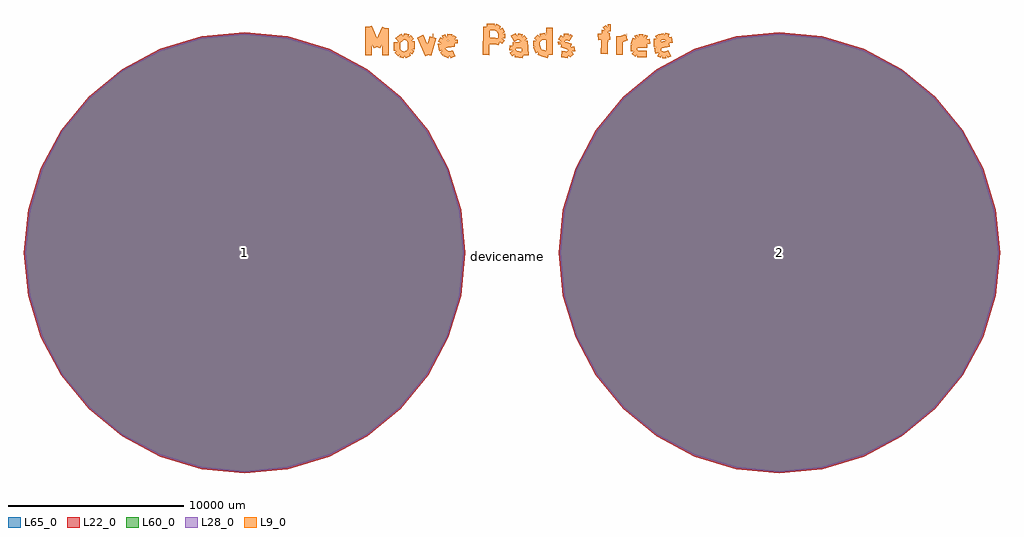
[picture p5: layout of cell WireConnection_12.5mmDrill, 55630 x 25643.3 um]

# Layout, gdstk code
import gdstk
lib = gdstk.Library(unit=1e-6, precision=1e-09)
def P(c, l, *ps):  # polygons
    for p in ps: c.add(gdstk.Polygon(p, *l))
L9_0 = (9, 0)
L22_0 = (22, 0)
L28_0 = (28, 0)
L60_0 = (60, 0)
L65_0 = (65, 0)

wireconnection_12_5mmdri = lib.new_cell('WireConnection_12.5mmDrill')
P(wireconnection_12_5mmdri, L22_0, [(43055,0),(42813.375,2453.261),(42097.785,4812.244),(40935.73,6986.296),(39371.868,8891.868),(37466.296,10455.73),(35292.244,11617.785),(32933.261,12333.375),(30480,12575),(28026.739,12333.375),(25667.756,11617.785),(23493.704,10455.73),(21588.132,8891.868),(20024.27,6986.296),(18862.215,4812.244),(18146.625,2453.261),(17905,0),(18146.625,-2453.261),(18862.215,-4812.244),(20024.27,-6986.296),(21588.132,-8891.868),(23493.704,-10455.73),(25667.756,-11617.785),(28026.739,-12333.375),(30480,-12575),(32933.261,-12333.375),(35292.244,-11617.785),(37466.296,-10455.73),(39371.868,-8891.868),(40935.73,-6986.296),(42097.785,-4812.244),(42813.375,-2453.261)],
  [(12575,0),(12333.375,2453.261),(11617.785,4812.244),(10455.73,6986.296),(8891.868,8891.868),(6986.296,10455.73),(4812.244,11617.785),(2453.261,12333.375),(0,12575),(-2453.261,12333.375),(-4812.244,11617.785),(-6986.296,10455.73),(-8891.868,8891.868),(-10455.73,6986.296),(-11617.785,4812.244),(-12333.375,2453.261),(-12575,0),(-12333.375,-2453.261),(-11617.785,-4812.244),(-10455.73,-6986.296),(-8891.868,-8891.868),(-6986.296,-10455.73),(-4812.244,-11617.785),(-2453.261,-12333.375),(0,-12575),(2453.261,-12333.375),(4812.244,-11617.785),(6986.296,-10455.73),(8891.868,-8891.868),(10455.73,-6986.296),(11617.785,-4812.244),(12333.375,-2453.261)])
P(wireconnection_12_5mmdri, L28_0, [(42980,0),(42739.816,2438.629),(42028.494,4783.543),(40873.37,6944.628),(39318.835,8838.835),(37424.628,10393.37),(35263.543,11548.494),(32918.629,12259.816),(30480,12500),(28041.371,12259.816),(25696.457,11548.494),(23535.372,10393.37),(21641.165,8838.835),(20086.63,6944.628),(18931.506,4783.543),(18220.184,2438.629),(17980,0),(18220.184,-2438.629),(18931.506,-4783.543),(20086.63,-6944.628),(21641.165,-8838.835),(23535.372,-10393.37),(25696.457,-11548.494),(28041.371,-12259.816),(30480,-12500),(32918.629,-12259.816),(35263.543,-11548.494),(37424.628,-10393.37),(39318.835,-8838.835),(40873.37,-6944.628),(42028.494,-4783.543),(42739.816,-2438.629)],
  [(12500,0),(12259.816,2438.629),(11548.494,4783.543),(10393.37,6944.628),(8838.835,8838.835),(6944.628,10393.37),(4783.543,11548.494),(2438.629,12259.816),(0,12500),(-2438.629,12259.816),(-4783.543,11548.494),(-6944.628,10393.37),(-8838.835,8838.835),(-10393.37,6944.628),(-11548.494,4783.543),(-12259.816,2438.629),(-12500,0),(-12259.816,-2438.629),(-11548.494,-4783.543),(-10393.37,-6944.628),(-8838.835,-8838.835),(-6944.628,-10393.37),(-4783.543,-11548.494),(-2438.629,-12259.816),(0,-12500),(2438.629,-12259.816),(4783.543,-11548.494),(6944.628,-10393.37),(8838.835,-8838.835),(10393.37,-6944.628),(11548.494,-4783.543),(12259.816,-2438.629)])
P(wireconnection_12_5mmdri, L60_0, [(42980,0),(42739.816,2438.629),(42028.494,4783.543),(40873.37,6944.628),(39318.835,8838.835),(37424.628,10393.37),(35263.543,11548.494),(32918.629,12259.816),(30480,12500),(28041.371,12259.816),(25696.457,11548.494),(23535.372,10393.37),(21641.165,8838.835),(20086.63,6944.628),(18931.506,4783.543),(18220.184,2438.629),(17980,0),(18220.184,-2438.629),(18931.506,-4783.543),(20086.63,-6944.628),(21641.165,-8838.835),(23535.372,-10393.37),(25696.457,-11548.494),(28041.371,-12259.816),(30480,-12500),(32918.629,-12259.816),(35263.543,-11548.494),(37424.628,-10393.37),(39318.835,-8838.835),(40873.37,-6944.628),(42028.494,-4783.543),(42739.816,-2438.629)],
  [(12500,0),(12259.816,2438.629),(11548.494,4783.543),(10393.37,6944.628),(8838.835,8838.835),(6944.628,10393.37),(4783.543,11548.494),(2438.629,12259.816),(0,12500),(-2438.629,12259.816),(-4783.543,11548.494),(-6944.628,10393.37),(-8838.835,8838.835),(-10393.37,6944.628),(-11548.494,4783.543),(-12259.816,2438.629),(-12500,0),(-12259.816,-2438.629),(-11548.494,-4783.543),(-10393.37,-6944.628),(-8838.835,-8838.835),(-6944.628,-10393.37),(-4783.543,-11548.494),(-2438.629,-12259.816),(0,-12500),(2438.629,-12259.816),(4783.543,-11548.494),(6944.628,-10393.37),(8838.835,-8838.835),(10393.37,-6944.628),(11548.494,-4783.543),(12259.816,-2438.629)])
P(wireconnection_12_5mmdri, L65_0, [(43055,0),(42813.375,2453.261),(42097.785,4812.244),(40935.73,6986.296),(39371.868,8891.868),(37466.296,10455.73),(35292.244,11617.785),(32933.261,12333.375),(30480,12575),(28026.739,12333.375),(25667.756,11617.785),(23493.704,10455.73),(21588.132,8891.868),(20024.27,6986.296),(18862.215,4812.244),(18146.625,2453.261),(17905,0),(18146.625,-2453.261),(18862.215,-4812.244),(20024.27,-6986.296),(21588.132,-8891.868),(23493.704,-10455.73),(25667.756,-11617.785),(28026.739,-12333.375),(30480,-12575),(32933.261,-12333.375),(35292.244,-11617.785),(37466.296,-10455.73),(39371.868,-8891.868),(40935.73,-6986.296),(42097.785,-4812.244),(42813.375,-2453.261)],
  [(12575,0),(12333.375,2453.261),(11617.785,4812.244),(10455.73,6986.296),(8891.868,8891.868),(6986.296,10455.73),(4812.244,11617.785),(2453.261,12333.375),(0,12575),(-2453.261,12333.375),(-4812.244,11617.785),(-6986.296,10455.73),(-8891.868,8891.868),(-10455.73,6986.296),(-11617.785,4812.244),(-12333.375,2453.261),(-12575,0),(-12333.375,-2453.261),(-11617.785,-4812.244),(-10455.73,-6986.296),(-8891.868,-8891.868),(-6986.296,-10455.73),(-4812.244,-11617.785),(-2453.261,-12333.375),(0,-12575),(2453.261,-12333.375),(4812.244,-11617.785),(6986.296,-10455.73),(8891.868,-8891.868),(10455.73,-6986.296),(11617.785,-4812.244),(12333.375,-2453.261)])
wireconnection_12_5mmdri.add(gdstk.FlexPath([(8026.4,12801.6),(8026.4,11252.2)], 380.998, ends="flush", simple_path=True, layer=9, datatype=0))  # L9_0
wireconnection_12_5mmdri.add(gdstk.FlexPath([(7543.8,11734.8),(8026.4,12801.6)], 380.998, ends="flush", simple_path=True, layer=9, datatype=0))  # L9_0
wireconnection_12_5mmdri.add(gdstk.FlexPath([(7061.2,12877.8),(7543.8,11734.8)], 380.998, ends="flush", simple_path=True, layer=9, datatype=0))  # L9_0
wireconnection_12_5mmdri.add(gdstk.FlexPath([(7061.2,11252.2),(7061.2,12877.8)], 380.998, ends="flush", simple_path=True, layer=9, datatype=0))  # L9_0
wireconnection_12_5mmdri.add(gdstk.FlexPath([(9042.4,12344.4),(8712.2,12090.4)], 380.998, ends="flush", simple_path=True, layer=9, datatype=0))  # L9_0
wireconnection_12_5mmdri.add(gdstk.FlexPath([(9321.8,12268.2),(9042.4,12344.4)], 380.998, ends="flush", simple_path=True, layer=9, datatype=0))  # L9_0
wireconnection_12_5mmdri.add(gdstk.FlexPath([(9499.6,12065),(9321.8,12268.2)], 380.998, ends="flush", simple_path=True, layer=9, datatype=0))  # L9_0
wireconnection_12_5mmdri.add(gdstk.FlexPath([(9499.6,11607.8),(9499.6,12065)], 380.998, ends="flush", simple_path=True, layer=9, datatype=0))  # L9_0
wireconnection_12_5mmdri.add(gdstk.FlexPath([(9398,11404.6),(9499.6,11607.8)], 380.998, ends="flush", simple_path=True, layer=9, datatype=0))  # L9_0
wireconnection_12_5mmdri.add(gdstk.FlexPath([(9118.6,11277.6),(9398,11404.6)], 380.998, ends="flush", simple_path=True, layer=9, datatype=0))  # L9_0
wireconnection_12_5mmdri.add(gdstk.FlexPath([(8890,11328.4),(9118.6,11277.6)], 380.998, ends="flush", simple_path=True, layer=9, datatype=0))  # L9_0
wireconnection_12_5mmdri.add(gdstk.FlexPath([(8686.8,11531.6),(8890,11328.4)], 380.998, ends="flush", simple_path=True, layer=9, datatype=0))  # L9_0
wireconnection_12_5mmdri.add(gdstk.FlexPath([(8686.8,12014.2),(8686.8,11531.6)], 380.998, ends="flush", simple_path=True, layer=9, datatype=0))  # L9_0
wireconnection_12_5mmdri.add(gdstk.FlexPath([(10744.2,12293.6),(10718.8,12293.6)], 380.998, ends="flush", simple_path=True, layer=9, datatype=0))  # L9_0
wireconnection_12_5mmdri.add(gdstk.FlexPath([(10464.8,11277.6),(10744.2,12293.6)], 380.998, ends="flush", simple_path=True, layer=9, datatype=0))  # L9_0
wireconnection_12_5mmdri.add(gdstk.FlexPath([(10007.6,12344.4),(10464.8,11277.6)], 380.998, ends="flush", simple_path=True, layer=9, datatype=0))  # L9_0
wireconnection_12_5mmdri.add(gdstk.FlexPath([(11963.4,11938),(11328.4,11861.8)], 380.998, ends="flush", simple_path=True, layer=9, datatype=0))  # L9_0
wireconnection_12_5mmdri.add(gdstk.FlexPath([(11963.4,12141.2),(11963.4,11938)], 380.998, ends="flush", simple_path=True, layer=9, datatype=0))  # L9_0
wireconnection_12_5mmdri.add(gdstk.FlexPath([(11811,12268.2),(11963.4,12141.2)], 380.998, ends="flush", simple_path=True, layer=9, datatype=0))  # L9_0
wireconnection_12_5mmdri.add(gdstk.FlexPath([(11531.6,12293.6),(11811,12268.2)], 380.998, ends="flush", simple_path=True, layer=9, datatype=0))  # L9_0
wireconnection_12_5mmdri.add(gdstk.FlexPath([(11328.4,12192),(11531.6,12293.6)], 380.998, ends="flush", simple_path=True, layer=9, datatype=0))  # L9_0
wireconnection_12_5mmdri.add(gdstk.FlexPath([(11201.4,11938),(11328.4,12192)], 380.998, ends="flush", simple_path=True, layer=9, datatype=0))  # L9_0
wireconnection_12_5mmdri.add(gdstk.FlexPath([(11277.6,11531.6),(11201.4,11938)], 380.998, ends="flush", simple_path=True, layer=9, datatype=0))  # L9_0
wireconnection_12_5mmdri.add(gdstk.FlexPath([(11430,11379.2),(11277.6,11531.6)], 380.998, ends="flush", simple_path=True, layer=9, datatype=0))  # L9_0
wireconnection_12_5mmdri.add(gdstk.FlexPath([(11684,11277.6),(11430,11379.2)], 380.998, ends="flush", simple_path=True, layer=9, datatype=0))  # L9_0
wireconnection_12_5mmdri.add(gdstk.FlexPath([(11938,11379.2),(11684,11277.6)], 380.998, ends="flush", simple_path=True, layer=9, datatype=0))  # L9_0
wireconnection_12_5mmdri.add(gdstk.FlexPath([(14249.4,12065),(13792.2,12065)], 380.998, ends="flush", simple_path=True, layer=9, datatype=0))  # L9_0
wireconnection_12_5mmdri.add(gdstk.FlexPath([(14528.8,12014.2),(14249.4,12065)], 380.998, ends="flush", simple_path=True, layer=9, datatype=0))  # L9_0
wireconnection_12_5mmdri.add(gdstk.FlexPath([(14655.8,12217.4),(14528.8,12014.2)], 380.998, ends="flush", simple_path=True, layer=9, datatype=0))  # L9_0
wireconnection_12_5mmdri.add(gdstk.FlexPath([(14655.8,12496.8),(14655.8,12217.4)], 380.998, ends="flush", simple_path=True, layer=9, datatype=0))  # L9_0
wireconnection_12_5mmdri.add(gdstk.FlexPath([(14528.8,12750.8),(14655.8,12496.8)], 380.998, ends="flush", simple_path=True, layer=9, datatype=0))  # L9_0
wireconnection_12_5mmdri.add(gdstk.FlexPath([(14249.4,12877.8),(14528.8,12750.8)], 380.998, ends="flush", simple_path=True, layer=9, datatype=0))  # L9_0
wireconnection_12_5mmdri.add(gdstk.FlexPath([(13792.2,12877.8),(14249.4,12877.8)], 380.998, ends="flush", simple_path=True, layer=9, datatype=0))  # L9_0
wireconnection_12_5mmdri.add(gdstk.FlexPath([(13766.8,11277.6),(13792.2,12877.8)], 380.998, ends="flush", simple_path=True, layer=9, datatype=0))  # L9_0
wireconnection_12_5mmdri.add(gdstk.FlexPath([(15951.2,12090.4),(16002,11252.2)], 380.998, ends="flush", simple_path=True, layer=9, datatype=0))  # L9_0
wireconnection_12_5mmdri.add(gdstk.FlexPath([(15798.8,12268.2),(15951.2,12090.4)], 380.998, ends="flush", simple_path=True, layer=9, datatype=0))  # L9_0
wireconnection_12_5mmdri.add(gdstk.FlexPath([(15544.8,12344.4),(15798.8,12268.2)], 380.998, ends="flush", simple_path=True, layer=9, datatype=0))  # L9_0
wireconnection_12_5mmdri.add(gdstk.FlexPath([(15265.4,12192),(15544.8,12344.4)], 380.998, ends="flush", simple_path=True, layer=9, datatype=0))  # L9_0
wireconnection_12_5mmdri.add(gdstk.FlexPath([(15290.8,11811),(16002,11861.8)], 380.998, ends="flush", simple_path=True, layer=9, datatype=0))  # L9_0
wireconnection_12_5mmdri.add(gdstk.FlexPath([(15265.4,11531.6),(15290.8,11811)], 380.998, ends="flush", simple_path=True, layer=9, datatype=0))  # L9_0
wireconnection_12_5mmdri.add(gdstk.FlexPath([(15417.8,11328.4),(15265.4,11531.6)], 380.998, ends="flush", simple_path=True, layer=9, datatype=0))  # L9_0
wireconnection_12_5mmdri.add(gdstk.FlexPath([(15875,11277.6),(15417.8,11328.4)], 380.998, ends="flush", simple_path=True, layer=9, datatype=0))  # L9_0
wireconnection_12_5mmdri.add(gdstk.FlexPath([(17373.6,12827),(17373.6,11277.6)], 380.998, ends="flush", simple_path=True, layer=9, datatype=0))  # L9_0
wireconnection_12_5mmdri.add(gdstk.FlexPath([(16840.2,12293.6),(17170.4,12344.4)], 380.998, ends="flush", simple_path=True, layer=9, datatype=0))  # L9_0
wireconnection_12_5mmdri.add(gdstk.FlexPath([(16637,12090.4),(16840.2,12293.6)], 380.998, ends="flush", simple_path=True, layer=9, datatype=0))  # L9_0
wireconnection_12_5mmdri.add(gdstk.FlexPath([(16637,11785.6),(16637,12090.4)], 380.998, ends="flush", simple_path=True, layer=9, datatype=0))  # L9_0
wireconnection_12_5mmdri.add(gdstk.FlexPath([(16764,11455.4),(16637,11785.6)], 380.998, ends="flush", simple_path=True, layer=9, datatype=0))  # L9_0
wireconnection_12_5mmdri.add(gdstk.FlexPath([(16967.2,11379.2),(16764,11455.4)], 380.998, ends="flush", simple_path=True, layer=9, datatype=0))  # L9_0
wireconnection_12_5mmdri.add(gdstk.FlexPath([(17322.8,11277.6),(16967.2,11379.2)], 380.998, ends="flush", simple_path=True, layer=9, datatype=0))  # L9_0
wireconnection_12_5mmdri.add(gdstk.FlexPath([(18440.4,11277.6),(18059.4,11328.4)], 380.998, ends="flush", simple_path=True, layer=9, datatype=0))  # L9_0
wireconnection_12_5mmdri.add(gdstk.FlexPath([(18643.6,11455.4),(18440.4,11277.6)], 380.998, ends="flush", simple_path=True, layer=9, datatype=0))  # L9_0
wireconnection_12_5mmdri.add(gdstk.FlexPath([(18592.8,11734.8),(18643.6,11455.4)], 380.998, ends="flush", simple_path=True, layer=9, datatype=0))  # L9_0
wireconnection_12_5mmdri.add(gdstk.FlexPath([(18338.8,11811),(18592.8,11734.8)], 380.998, ends="flush", simple_path=True, layer=9, datatype=0))  # L9_0
wireconnection_12_5mmdri.add(gdstk.FlexPath([(18059.4,11887.2),(18338.8,11811)], 380.998, ends="flush", simple_path=True, layer=9, datatype=0))  # L9_0
wireconnection_12_5mmdri.add(gdstk.FlexPath([(18034,12065),(18059.4,11887.2)], 380.998, ends="flush", simple_path=True, layer=9, datatype=0))  # L9_0
wireconnection_12_5mmdri.add(gdstk.FlexPath([(18186.4,12293.6),(18034,12065)], 380.998, ends="flush", simple_path=True, layer=9, datatype=0))  # L9_0
wireconnection_12_5mmdri.add(gdstk.FlexPath([(18465.8,12293.6),(18186.4,12293.6)], 380.998, ends="flush", simple_path=True, layer=9, datatype=0))  # L9_0
wireconnection_12_5mmdri.add(gdstk.FlexPath([(18592.8,12217.4),(18465.8,12293.6)], 380.998, ends="flush", simple_path=True, layer=9, datatype=0))  # L9_0
wireconnection_12_5mmdri.add(gdstk.FlexPath([(20548.6,12700),(20497.8,11328.4)], 380.998, ends="flush", simple_path=True, layer=9, datatype=0))  # L9_0
wireconnection_12_5mmdri.add(gdstk.FlexPath([(20701,12827),(20548.6,12700)], 380.998, ends="flush", simple_path=True, layer=9, datatype=0))  # L9_0
wireconnection_12_5mmdri.add(gdstk.FlexPath([(20878.8,12827),(20701,12827)], 380.998, ends="flush", simple_path=True, layer=9, datatype=0))  # L9_0
wireconnection_12_5mmdri.add(gdstk.FlexPath([(20142.2,12293.6),(20828,12344.4)], 380.998, ends="flush", simple_path=True, layer=9, datatype=0))  # L9_0
wireconnection_12_5mmdri.add(gdstk.FlexPath([(21361.4,12344.4),(21361.4,11277.6)], 380.998, ends="flush", simple_path=True, layer=9, datatype=0))  # L9_0
wireconnection_12_5mmdri.add(gdstk.FlexPath([(21767.8,12293.6),(21793.2,12293.6)], 380.998, ends="flush", simple_path=True, layer=9, datatype=0))  # L9_0
wireconnection_12_5mmdri.add(gdstk.FlexPath([(21386.8,12141.2),(21767.8,12293.6)], 380.998, ends="flush", simple_path=True, layer=9, datatype=0))  # L9_0
wireconnection_12_5mmdri.add(gdstk.FlexPath([(22936.2,11887.2),(22301.2,11861.8)], 380.998, ends="flush", simple_path=True, layer=9, datatype=0))  # L9_0
wireconnection_12_5mmdri.add(gdstk.FlexPath([(22910.8,12192),(22936.2,11887.2)], 380.998, ends="flush", simple_path=True, layer=9, datatype=0))  # L9_0
wireconnection_12_5mmdri.add(gdstk.FlexPath([(22733,12268.2),(22910.8,12192)], 380.998, ends="flush", simple_path=True, layer=9, datatype=0))  # L9_0
wireconnection_12_5mmdri.add(gdstk.FlexPath([(22453.6,12268.2),(22733,12268.2)], 380.998, ends="flush", simple_path=True, layer=9, datatype=0))  # L9_0
wireconnection_12_5mmdri.add(gdstk.FlexPath([(22301.2,12192),(22453.6,12268.2)], 380.998, ends="flush", simple_path=True, layer=9, datatype=0))  # L9_0
wireconnection_12_5mmdri.add(gdstk.FlexPath([(22199.6,11861.8),(22301.2,12192)], 380.998, ends="flush", simple_path=True, layer=9, datatype=0))  # L9_0
wireconnection_12_5mmdri.add(gdstk.FlexPath([(22199.6,11480.8),(22199.6,11861.8)], 380.998, ends="flush", simple_path=True, layer=9, datatype=0))  # L9_0
wireconnection_12_5mmdri.add(gdstk.FlexPath([(22377.4,11328.4),(22199.6,11480.8)], 380.998, ends="flush", simple_path=True, layer=9, datatype=0))  # L9_0
wireconnection_12_5mmdri.add(gdstk.FlexPath([(22580.6,11328.4),(22377.4,11328.4)], 380.998, ends="flush", simple_path=True, layer=9, datatype=0))  # L9_0
wireconnection_12_5mmdri.add(gdstk.FlexPath([(22910.8,11328.4),(22580.6,11328.4)], 380.998, ends="flush", simple_path=True, layer=9, datatype=0))  # L9_0
wireconnection_12_5mmdri.add(gdstk.FlexPath([(23596.6,11811),(23596.6,11861.8)], 380.998, ends="flush", simple_path=True, layer=9, datatype=0))  # L9_0
wireconnection_12_5mmdri.add(gdstk.FlexPath([(24206.2,11938),(23596.6,11811)], 380.998, ends="flush", simple_path=True, layer=9, datatype=0))  # L9_0
wireconnection_12_5mmdri.add(gdstk.FlexPath([(24155.4,12293.6),(24206.2,11938)], 380.998, ends="flush", simple_path=True, layer=9, datatype=0))  # L9_0
wireconnection_12_5mmdri.add(gdstk.FlexPath([(23926.8,12344.4),(24155.4,12293.6)], 380.998, ends="flush", simple_path=True, layer=9, datatype=0))  # L9_0
wireconnection_12_5mmdri.add(gdstk.FlexPath([(23622,12268.2),(23926.8,12344.4)], 380.998, ends="flush", simple_path=True, layer=9, datatype=0))  # L9_0
wireconnection_12_5mmdri.add(gdstk.FlexPath([(23520.4,12192),(23622,12268.2)], 380.998, ends="flush", simple_path=True, layer=9, datatype=0))  # L9_0
wireconnection_12_5mmdri.add(gdstk.FlexPath([(23520.4,11734.8),(23520.4,12192)], 380.998, ends="flush", simple_path=True, layer=9, datatype=0))  # L9_0
wireconnection_12_5mmdri.add(gdstk.FlexPath([(23596.6,11379.2),(23520.4,11734.8)], 380.998, ends="flush", simple_path=True, layer=9, datatype=0))  # L9_0
wireconnection_12_5mmdri.add(gdstk.FlexPath([(23799.8,11277.6),(23596.6,11379.2)], 380.998, ends="flush", simple_path=True, layer=9, datatype=0))  # L9_0
wireconnection_12_5mmdri.add(gdstk.FlexPath([(24028.4,11277.6),(23799.8,11277.6)], 380.998, ends="flush", simple_path=True, layer=9, datatype=0))  # L9_0
wireconnection_12_5mmdri.add(gdstk.FlexPath([(24231.6,11379.2),(24028.4,11277.6)], 380.998, ends="flush", simple_path=True, layer=9, datatype=0))  # L9_0
wireconnection_12_5mmdri.add(gdstk.Label('2', (30480,0), layer=28, texttype=0))
wireconnection_12_5mmdri.add(gdstk.Label('1', (0,0), layer=28, texttype=0))
wireconnection_12_5mmdri.add(gdstk.Label('type', (15240,-13970), layer=9, texttype=0))
wireconnection_12_5mmdri.add(gdstk.Label('devicename', (15011.4,-203.2), layer=9, texttype=0))

lib.write_gds('WireConnection_12.5mmDrill.gds')
